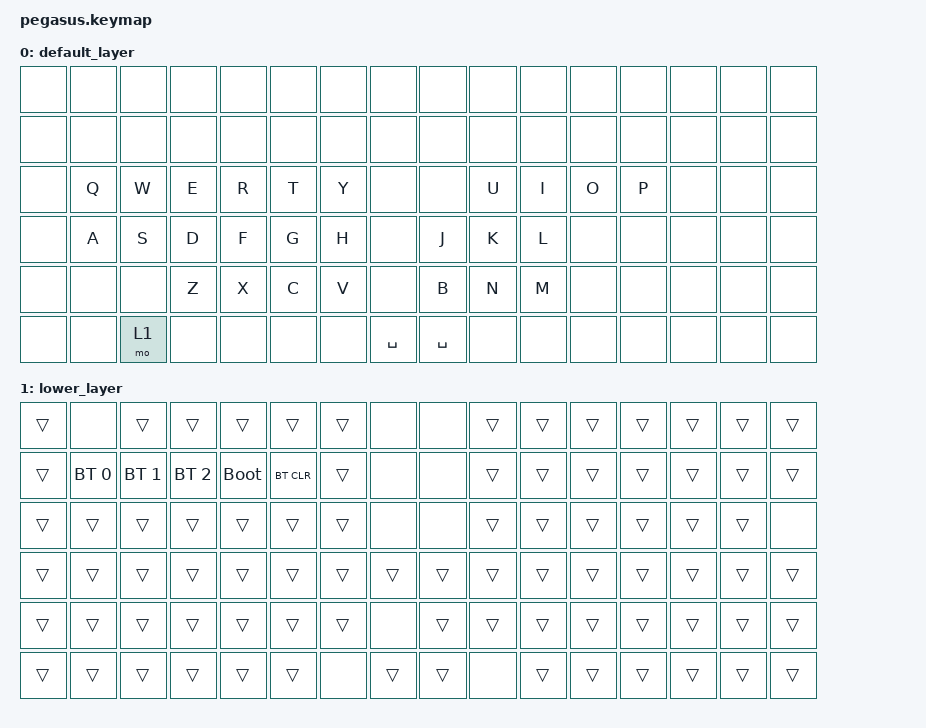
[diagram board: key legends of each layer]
#include <behaviors.dtsi>
#include <dt-bindings/zmk/keys.h>
#include <dt-bindings/zmk/bt.h>



/ {
        keymap {
                compatible = "zmk,keymap";
        
                default_layer {
// -----------------------------------------------------------------------------------------
// | ESC   |  NONE  |   F1  |     F2    |    F3   |   F4   |  F5  | NONE |      |  NONE  |  F6  |   F7   |       F8        |   F9   |  F10    |  F11    |  F12    |
// | GRAVE |   N1   |   N2  |     N3    |    N4   |   N5   |  N6  | NONE |      |  NONE  |  N7  |   N8   |       N9        |   N0   |  MINUS  |  EQUAL  |  BSPC   |
// | TAB   |   Q    |   W   |     E     |    R    |   T    |  Y   | NONE |      |  NONE  |  U   |   I    |       O         |   P    |  LBKT   |  RBKT   |  NONE   |
// | DEL   |   A    |   S   |     D     |    F    |   G    |  H   | RET  |      |   J    |  K   |   L    |      SEMI       |  APOS  |  BSLH   |  INS    |  PG_UP  |
// | SHIFT |  HOME  |  END  |     Z     |    X    |   C    |  V   | NONE |      |   B    |  N   |   M    |      COMMA      |  DOT   |  FSLH   |  UP     |  PG_DN  |
// | CTRL  |  LWIN  |  FN   |   CPSLK   |  PSCRN  |  LALT  | NONE | SPC  |      |  SPC   | NONE |  RALT  |   PAUSE_BREAK   |  SLCK  |  LEFT   |  DOWN   |  RIGHT  |
                        bindings = <
   &none    &none    &none  &none    &none   &none   &none  &none         &none    &none  &none   &none          &none   &none   &none   &none
   &none  &none   &none  &none   &none    &none   &none  &none         &none    &none &none    &none         &none   &none &none &none
  &none   &kp Q    &kp W   &kp E     &kp R     &kp T    &kp Y   &none         &none    &kp U   &kp I     &kp O           &kp P    &none  &none  &none 
   &none    &kp A    &kp S   &kp D     &kp F     &kp G    &kp H   &none      &kp J    &kp K   &kp L     &none        &none &none  &none   &none
   &none &none &none &kp Z     &kp X     &kp C    &kp V   &none         &kp B    &kp N   &kp M     &none       &none  &none  &none  &none
   &none  &none &mo 1   &none  &none &none &none   &kp SPACE    &kp SPACE &none   &none &none &none &none  &none  &none
                        >;
                };
                lower_layer {
// -----------------------------------------------------------------------------------------
// | TRNS  |  NONE  |   C_BRI_DN   |  C_BRI_UP |  C_VOL_DN  |  C_VOL_UP  |  C_MUTE   | NONE |     |  NONE   | C_RW |  C_PP  |      C_FF      |  TRNS  |  TRNS   |  F11    |  F12   |
// | TRNS  |  BTL0  |     BTL1     |    BTL2   |    BTL3    |    BTL4    |   TRNS    | NONE |     |  NONE   | TRNS |  TRNS  |      TRNS      |  TRNS  |  TRNS   |  TRNS   |  TRNS  |
// | TRNS  |  TRNS  |     TRNS     |    TRNS   |    TRNS    |    TRNS    |   TRNS    | NONE |     |  NONE   | TRNS |  TRNS  |      TRNS      |  TRNS  |  TRNS   |  TRNS   |  NONE  |
// | TRNS  |  TRNS  |     TRNS     |    TRNS   |    TRNS    |    TRNS    |   TRNS    | TRNS |     |  TRNS   | TRNS |  TRNS  |      TRNS      |  TRNS  |  TRNS   |  TRNS   |  TRNS  |
// | TRNS  |  TRNS  |     TRNS     |    TRNS   |    TRNS    |    TRNS    |   TRNS    | NONE |     |  TRNS   | TRNS |  TRNS  |      TRNS      |  TRNS  |  TRNS   |  TRNS   |  TRNS  |
// | TRNS  |  TRNS  |     TRNS     |    TRNS   |    TRNS    |    TRNS    |   NONE    | TRNS |     |  TRNS   | NONE |  TRNS  |      TRNS      |  TRNS  |  TRNS   |  TRNS   |  TRNS  |
                        bindings = <
   &trans    &none          &trans          &trans          &trans          &trans          &trans       &none        &none    &trans   &trans    &trans    &trans    &trans    &trans    &trans
   &trans    &bt BT_SEL 0   &bt BT_SEL 1    &bt BT_SEL 2    &bootloader     &bt BT_CLR      &trans       &none        &none    &trans   &trans    &trans    &trans    &trans    &trans    &trans
   &trans    &trans         &trans          &trans          &trans          &trans          &trans       &none        &none    &trans   &trans    &trans    &trans    &trans    &trans    &none 
   &trans    &trans         &trans          &trans          &trans          &trans          &trans       &trans       &trans   &trans   &trans    &trans    &trans    &trans    &trans    &trans
   &trans    &trans         &trans          &trans          &trans          &trans          &trans       &none        &trans   &trans   &trans    &trans    &trans    &trans    &trans    &trans
   &trans    &trans         &trans          &trans          &trans          &trans          &none        &trans       &trans   &none    &trans    &trans    &trans    &trans    &trans    &trans
                        >;
                };
        };
};
